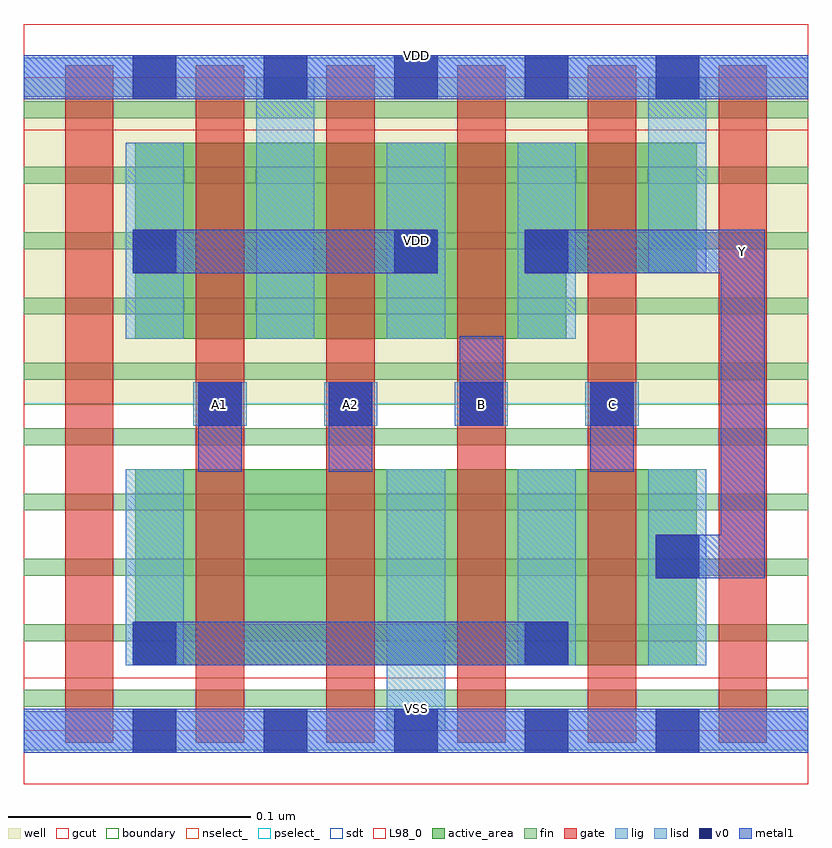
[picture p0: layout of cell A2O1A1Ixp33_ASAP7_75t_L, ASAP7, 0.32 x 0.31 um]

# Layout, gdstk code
import gdstk
lib = gdstk.Library(unit=1e-6, precision=2.5e-10)
def R(c, l, rs):  # rectangles x0, y0, x1, y1
    for r in rs: c.add(gdstk.rectangle(r[:2], r[2:], *l))
def A(c, l, x, y, w, h, nx, ny, dx, dy):  # array of equal rectangles
    R(c, l, [(x+i*dx, y+j*dy, x+i*dx+w, y+j*dy+h) for i in range(nx) for j in range(ny)])
def P(c, l, *ps):  # polygons
    for p in ps: c.add(gdstk.Polygon(p, *l))
well = (1, 0)
fin = (2, 0)
gate = (7, 0)
gcut = (10, 0)
active_area = (11, 0)
nselect_ = (12, 0)
pselect_ = (13, 0)
lig = (16, 0)
lisd = (17, 0)
v0 = (18, 0)
metal1 = (19, 0)
sdt = (88, 0)
L98_0 = (98, 0)
boundary = (100, 0)

a2o1a1ixp33_asap7_75t_l = lib.new_cell('A2O1A1Ixp33_ASAP7_75t_L')
R(a2o1a1ixp33_asap7_75t_l, well, [(0,0.135,0.324,0.27)])
A(a2o1a1ixp33_asap7_75t_l, fin, 0, 0.01, 0.324, 0.007, 1, 10, 0, 0.027)
A(a2o1a1ixp33_asap7_75t_l, gate, 0.017, -0.005, 0.02, 0.28, 6, 1, 0.054, 0)
R(a2o1a1ixp33_asap7_75t_l, gcut, [(0,-0.022,0.324,0.022), (0,0.248,0.324,0.292)])
R(a2o1a1ixp33_asap7_75t_l, active_area, [(0.046,0.027,0.278,0.108)])
P(a2o1a1ixp33_asap7_75t_l, active_area, [(0.046,0.162),(0.224,0.162),(0.224,0.189),(0.278,0.189),(0.278,0.243),(0.046,0.243)])
R(a2o1a1ixp33_asap7_75t_l, nselect_, [(0,0,0.324,0.135)])
R(a2o1a1ixp33_asap7_75t_l, pselect_, [(0,0.135,0.324,0.27)])
A(a2o1a1ixp33_asap7_75t_l, lig, 0.07, 0.126, 0.022, 0.018, 4, 1, 0.054, 0)
R(a2o1a1ixp33_asap7_75t_l, lig, [(0,-0.008,0.324,0.008), (0,0.262,0.324,0.278)])
R(a2o1a1ixp33_asap7_75t_l, lisd, [(0.15,0,0.174,0.108), (0.15,0,0.174,0.108), (0.042,0.027,0.066,0.108), (0.204,0.027,0.228,0.108), (0.258,0.027,0.282,0.108), (0.042,0.162,0.066,0.243), (0.096,0.162,0.12,0.27), (0.096,0.162,0.12,0.27), (0.15,0.162,0.174,0.243), (0.204,0.162,0.228,0.243), (0.258,0.189,0.282,0.27), (0.258,0.189,0.282,0.27)])
A(a2o1a1ixp33_asap7_75t_l, v0, 0.045, -0.009, 0.018, 0.018, 5, 2, 0.054, 0.27)
A(a2o1a1ixp33_asap7_75t_l, v0, 0.072, 0.126, 0.018, 0.018, 4, 1, 0.054, 0)
R(a2o1a1ixp33_asap7_75t_l, v0, [(0.045,0.027,0.063,0.045), (0.207,0.027,0.225,0.045), (0.261,0.063,0.279,0.081), (0.045,0.189,0.063,0.207), (0.153,0.189,0.171,0.207), (0.207,0.189,0.225,0.207)])
A(a2o1a1ixp33_asap7_75t_l, metal1, 0.072, 0.126, 0.018, 0.018, 4, 1, 0.054, 0)
R(a2o1a1ixp33_asap7_75t_l, metal1, [(0,-0.009,0.324,0.009), (0.045,0.027,0.063,0.045), (0.045,0.027,0.225,0.045), (0.207,0.027,0.225,0.045), (0.261,0.063,0.279,0.081), (0.072,0.107,0.09,0.144), (0.126,0.107,0.144,0.144), (0.234,0.107,0.252,0.144), (0.18,0.126,0.198,0.163), (0.045,0.189,0.063,0.207), (0.045,0.189,0.171,0.207), (0.153,0.189,0.171,0.207), (0.207,0.189,0.225,0.207), (0,0.261,0.324,0.279)])
P(a2o1a1ixp33_asap7_75t_l, metal1, [(0.207,0.207),(0.207,0.189),(0.288,0.189),(0.288,0.081),(0.261,0.081),(0.261,0.063),(0.306,0.063),(0.306,0.207)])
A(a2o1a1ixp33_asap7_75t_l, sdt, 0.15, 0.027, 0.024, 0.081, 3, 1, 0.054, 0)
A(a2o1a1ixp33_asap7_75t_l, sdt, 0.096, 0.162, 0.024, 0.081, 3, 1, 0.054, 0)
R(a2o1a1ixp33_asap7_75t_l, sdt, [(0.042,0.027,0.066,0.108), (0.15,0.027,0.174,0.108), (0.042,0.162,0.066,0.243), (0.096,0.162,0.12,0.243), (0.258,0.189,0.282,0.243), (0.258,0.189,0.282,0.243)])
R(a2o1a1ixp33_asap7_75t_l, L98_0, [(0,0,0.324,0.27)])
R(a2o1a1ixp33_asap7_75t_l, boundary, [(0,0,0.324,0.27)])
a2o1a1ixp33_asap7_75t_l.add(gdstk.Label('VDD', (0.162,0.2025), layer=1, texttype=251))
a2o1a1ixp33_asap7_75t_l.add(gdstk.Label('VSS', (0.162,-0.0675), layer=3, texttype=251))
a2o1a1ixp33_asap7_75t_l.add(gdstk.Label('VSS', (0.162,0.009), layer=19, texttype=251))
a2o1a1ixp33_asap7_75t_l.add(gdstk.Label('VDD', (0.162,0.279), layer=19, texttype=251))
a2o1a1ixp33_asap7_75t_l.add(gdstk.Label('A1', (0.081,0.135), layer=19, texttype=251))
a2o1a1ixp33_asap7_75t_l.add(gdstk.Label('A2', (0.135,0.135), layer=19, texttype=251))
a2o1a1ixp33_asap7_75t_l.add(gdstk.Label('B', (0.189,0.135), layer=19, texttype=251))
a2o1a1ixp33_asap7_75t_l.add(gdstk.Label('Y', (0.297,0.198), layer=19, texttype=251))
a2o1a1ixp33_asap7_75t_l.add(gdstk.Label('C', (0.243,0.135), layer=19, texttype=251))

lib.write_gds('A2O1A1Ixp33_ASAP7_75t_L.gds')
